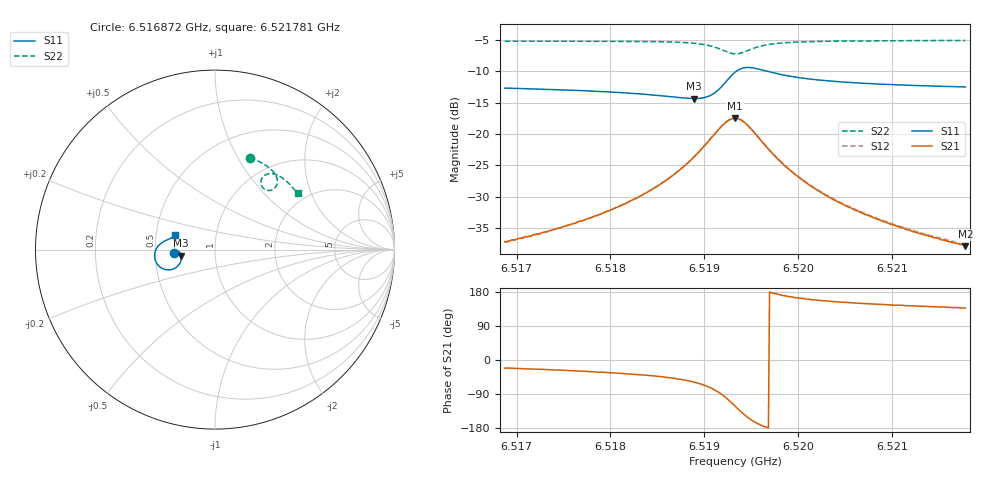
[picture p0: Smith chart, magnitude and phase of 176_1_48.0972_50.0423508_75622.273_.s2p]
#  HZ  S  RI  R  50.00
! Rohde & Schwarz Vector Network Analyzer
! Rohde-Schwarz,ZNB20-2Port,1311601062101988,3.16
! Created: UTC 12/23/2023, 3:52:16 AM
! freq[Hz]  re:S11  im:S11  re:S21  im:S21  re:S12  im:S12  re:S22  im:S22
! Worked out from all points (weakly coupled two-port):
!   401 points, 6.516872 GHz to 6.521781 GHz, reference 50 ohm
!   highest |S21| = -17.51 dB at 6.519326 GHz (marker M1); lowest = -37.9 dB at 6.521781 GHz (marker M2)
!   lowest |S11| = -14.4 dB at 6.518885 GHz (marker M3), VSWR 1.47, Z = 34.1 - j2.36 ohm
!   |S11| at or under -10 dB: start of sweep to 6.519341 GHz; 6.519666 GHz to end of sweep
!   |S22| runs from -7.2 to -5.1 dB; largest |S21 - S12| = 0.0041
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6.5168719e9  -0.2311 -0.0194  0.0129 -0.00509  0.0129 -0.00446  0.1941 0.5124
6.5173383e9  -0.2262 -0.0125  0.0152 -0.00741  0.0154 -0.00674  0.2285 0.4986
6.5176941e9  -0.2213 -0.00828  0.0177 -0.01  0.0179 -0.00941  0.2549 0.4855
6.5181482e9  -0.2126 -0.00576  0.0223 -0.0162  0.0229 -0.0155  0.2892 0.465
6.5185164e9  -0.2022 -0.00969  0.0284 -0.0268  0.0294 -0.0261  0.3175 0.4418
6.5187127e9  -0.195 -0.0177  0.0324 -0.0381  0.0336 -0.0372  0.3326 0.424
6.5188845e9  -0.1887 -0.0333  0.0344 -0.0552  0.0363 -0.0544  0.3443 0.4017
6.5190072e9  -0.1881 -0.0537  0.0314 -0.0751  0.0339 -0.0746  0.3476 0.3789
6.5190932e9  -0.1948 -0.0743  0.022 -0.094  0.0251 -0.094  0.3435 0.3589
6.5192281e9  -0.2357 -0.1093  -0.0199 -0.1219  -0.0164 -0.1234  0.3124 0.3308
6.5192772e9  -0.2626 -0.1132  -0.0446 -0.1227  -0.0413 -0.1249  0.2931 0.3296
6.5193263e9  -0.2915 -0.1062  -0.0698 -0.1136  -0.0669 -0.1162  0.2743 0.3374
6.5193877e9  -0.3206 -0.0825  -0.093 -0.0898  -0.0911 -0.0932  0.2584 0.3572
6.519449e9  -0.3348 -0.0517  -0.1023 -0.0615  -0.1013 -0.065  0.2558 0.3803
6.5195472e9  -0.3325 -0.00905  -0.0958 -0.0254  -0.0959 -0.0284  0.2694 0.4075
6.5196577e9  -0.3167 0.0196  -0.0792 -0.00354  -0.0797 -0.00585  0.2921 0.4209
6.5198786e9  -0.2882 0.0435  -0.0527 0.0108  -0.0537 0.00938  0.3289 0.4214
6.5201485e9  -0.2672 0.0536  -0.0353 0.0135  -0.0362 0.0126  0.3594 0.4092
6.5204676e9  -0.2525 0.06  -0.0245 0.0128  -0.0252 0.0121  0.3857 0.3916
6.5209708e9  -0.2385 0.0675  -0.0158 0.0109  -0.0166 0.0106  0.4183 0.3619
6.5213144e9  -0.2314 0.0723  -0.0125 0.00989  -0.013 0.00966  0.4373 0.3413
6.5217807e9  -0.2234 0.0787  -0.00933 0.00868  -0.00991 0.00856  0.4601 0.3126
